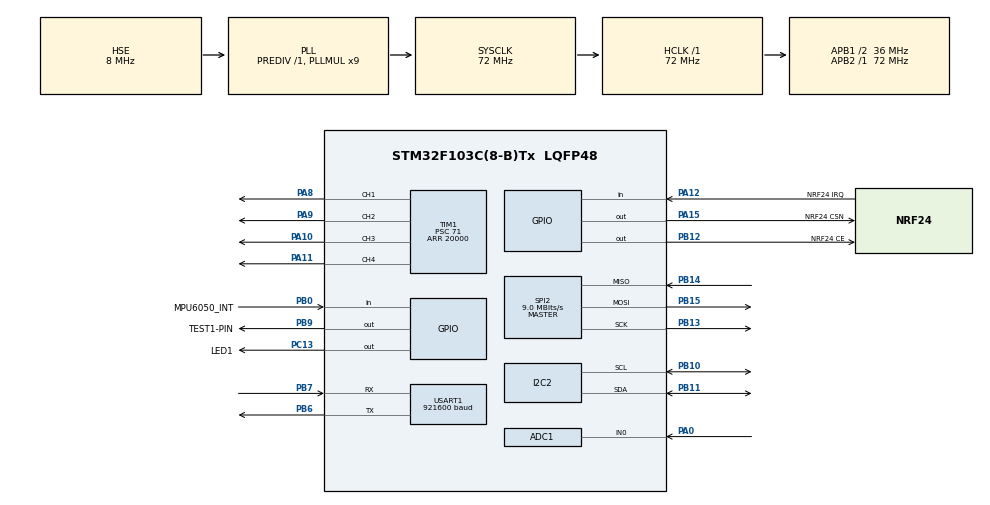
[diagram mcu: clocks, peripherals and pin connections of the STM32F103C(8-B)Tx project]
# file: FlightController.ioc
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ADC1.Channel-0\#ChannelRegularConversion=ADC_CHANNEL_0
ADC1.ContinuousConvMode=ENABLE
ADC1.NbrOfConversion=1
ADC1.NbrOfConversionFlag=1
ADC1.Rank-0\#ChannelRegularConversion=1
ADC1.SamplingTime-0\#ChannelRegularConversion=ADC_SAMPLETIME_13CYCLES_5
ADC1.master=1
I2C2.I2C_Mode=I2C_Fast
Mcu.Family=STM32F1
Mcu.Name=STM32F103C(8-B)Tx
Mcu.Package=LQFP48
NVIC.PriorityGroup=NVIC_PRIORITYGROUP_4
NVIC.TIM2_IRQn=true\:1\:0\:true\:false\:true\:true\:true
PA0-WKUP.Signal=ADCx_IN0
PA10.Signal=S_TIM1_CH3
PA11.Signal=S_TIM1_CH4
PA12.GPIO_Label=NRF24 IRQ
PA12.Signal=GPIO_Input
PA13.Mode=Trace_Asynchronous_SW
PA13.Signal=SYS_JTMS-SWDIO
PA14.Mode=Trace_Asynchronous_SW
PA14.Signal=SYS_JTCK-SWCLK
PA15.GPIO_Label=NRF24 CSN
PA15.Signal=GPIO_Output
PA8.Signal=S_TIM1_CH1
PA9.Signal=S_TIM1_CH2
PB0.GPIO_Label=MPU6050_INT
PB0.Signal=GPIO_Input
PB10.Mode=I2C
PB10.Signal=I2C2_SCL
PB11.Mode=I2C
PB11.Signal=I2C2_SDA
PB12.GPIO_Label=NRF24 CE
PB12.Signal=GPIO_Output
PB13.Mode=Full_Duplex_Master
PB13.Signal=SPI2_SCK
PB14.Mode=Full_Duplex_Master
PB14.Signal=SPI2_MISO
PB15.Mode=Full_Duplex_Master
PB15.Signal=SPI2_MOSI
PB3.Mode=Trace_Asynchronous_SW
PB3.Signal=SYS_JTDO-TRACESWO
PB6.Mode=Asynchronous
PB6.Signal=USART1_TX
PB7.Mode=Asynchronous
PB7.Signal=USART1_RX
PB9.GPIO_Label=TEST1-PIN
PB9.GPIO_Speed=GPIO_SPEED_FREQ_HIGH
PB9.Signal=GPIO_Output
PC13-TAMPER-RTC.GPIO_Label=LED1
PC13-TAMPER-RTC.Signal=GPIO_Output
PD0-OSC_IN.Mode=HSE-External-Oscillator
PD0-OSC_IN.Signal=RCC_OSC_IN
PD1-OSC_OUT.Mode=HSE-External-Oscillator
PD1-OSC_OUT.Signal=RCC_OSC_OUT
ProjectManager.HeapSize=0x200
ProjectManager.StackSize=0x400
ProjectManager.TargetToolchain=STM32CubeIDE
RCC.ADCPresc=RCC_ADCPCLK2_DIV6
RCC.AHBFreq_Value=72000000
RCC.APB1CLKDivider=RCC_HCLK_DIV2
RCC.APB1Freq_Value=36000000
RCC.APB1TimFreq_Value=72000000
RCC.APB2Freq_Value=72000000
RCC.APB2TimFreq_Value=72000000
RCC.HCLKFreq_Value=72000000
RCC.PLLMUL=RCC_PLL_MUL9
RCC.PLLSourceVirtual=RCC_PLLSOURCE_HSE
RCC.SYSCLKFreq_VALUE=72000000
RCC.SYSCLKSource=RCC_SYSCLKSOURCE_PLLCLK
RCC.USBFreq_Value=72000000
SH.ADCx_IN0.0=ADC1_IN0,IN0
SH.S_TIM1_CH1.0=TIM1_CH1,PWM Generation1 CH1
SH.S_TIM1_CH2.0=TIM1_CH2,PWM Generation2 CH2
SH.S_TIM1_CH3.0=TIM1_CH3,PWM Generation3 CH3
SH.S_TIM1_CH4.0=TIM1_CH4,PWM Generation4 CH4
SPI2.BaudRatePrescaler=SPI_BAUDRATEPRESCALER_4
SPI2.CalculateBaudRate=9.0 MBits/s
SPI2.Direction=SPI_DIRECTION_2LINES
SPI2.Mode=SPI_MODE_MASTER
SPI2.VirtualType=VM_MASTER
TIM1.Channel-PWM\ Generation1\ CH1=TIM_CHANNEL_1
TIM1.Channel-PWM\ Generation2\ CH2=TIM_CHANNEL_2
TIM1.Channel-PWM\ Generation3\ CH3=TIM_CHANNEL_3
TIM1.Channel-PWM\ Generation4\ CH4=TIM_CHANNEL_4
TIM1.OCFastMode_PWM-PWM\ Generation1\ CH1=TIM_OCFAST_ENABLE
TIM1.OCFastMode_PWM-PWM\ Generation2\ CH2=TIM_OCFAST_ENABLE
TIM1.OCFastMode_PWM-PWM\ Generation3\ CH3=TIM_OCFAST_ENABLE
TIM1.OCFastMode_PWM-PWM\ Generation4\ CH4=TIM_OCFAST_ENABLE
TIM1.Period=20000
TIM1.Prescaler=71
TIM1.Pulse-PWM\ Generation1\ CH1=1000
TIM1.Pulse-PWM\ Generation2\ CH2=1000
TIM1.Pulse-PWM\ Generation3\ CH3=1000
TIM1.Pulse-PWM\ Generation4\ CH4=1000
TIM2.AutoReloadPreload=TIM_AUTORELOAD_PRELOAD_ENABLE
TIM2.Period=2000
TIM2.Prescaler=71
USART1.BaudRate=921600
USART1.VirtualMode=VM_ASYNC
VP_TIM1_VS_ClockSourceINT.Mode=Internal
VP_TIM2_VS_ClockSourceINT.Mode=Internal
board=custom

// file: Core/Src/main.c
/* USER CODE BEGIN Header */
/**
  ******************************************************************************
  * @file           : main.c
  * @brief          : Main program body
  ******************************************************************************
  * @attention
  *
  * <h2><center>&copy; Copyright (c) 2020 STMicroelectronics.
  * All rights reserved.</center></h2>
  *
  * This software component is licensed by ST under BSD 3-Clause license,
  * the "License"; You may not use this file except in compliance with the
  * License. You may obtain a copy of the License at:
  *                        opensource.org/licenses/BSD-3-Clause
  *
  ******************************************************************************
  */
/* USER CODE END Header */

#include "main.h"

/* USER CODE BEGIN Includes */
#include "nrf24.h"
#include "MPU6050.h"
#include "stm32f1xx_it.h"
#include <string.h>
#include <stdio.h>
#include <math.h>
/* USER CODE END Includes */

ADC_HandleTypeDef hadc1;

I2C_HandleTypeDef hi2c2;

SPI_HandleTypeDef hspi2;

TIM_HandleTypeDef htim1;
TIM_HandleTypeDef htim2;

UART_HandleTypeDef huart1;

/* USER CODE BEGIN PV */
uint32_t watch1,watch2,watch3,watch4,watch5,watch6;
int32_t test1;
float watch1fl,watch2fl,watch3fl,watch4fl;

//NRF24
uint8_t nRF24_payloadTX[32]; //TX buffer
uint8_t nRF24_payloadRX[32]; //RX buffer
const uint8_t nRF24_ADDR[3] = {5, 3, 5 }; //Address
uint32_t wifiOK;
uint8_t RXstpaketov=0;

//NRF24 data
uint32_t Ljoyupdown;
uint32_t Ljoyleftright;
uint32_t Djoyupdown;
uint32_t Djoyleftright;
uint32_t potenc1;
uint32_t potenc2;
uint32_t togg1;
uint32_t togg2;
uint32_t togg3;
uint32_t togg4;
uint32_t togg5;
uint32_t togg6;

//MPU6050
MPU6050_Result MPU6050rezulatat ;
MPU6050str	mpu6050DataStr;
int16_t GyroXcal,GyroYcal,GyroZcal;
int16_t GyroXOff,GyroYOff,GyroZOff;
int32_t SUMGyroX,SUMGyroY,SUMGyroZ;
uint32_t i=0;
uint8_t fifoBuffer[64];    // FIFO storage buffer
uint16_t packetSize=42;    // expected DMP packet size (default is 42 bytes)
uint32_t MPUintActive;

//UART DEBUG
char UartTXbuff0[100];

//MOTOR
uint32_t MotorStatus=MOTORINIT;
uint32_t GyroCalibStatus=0;

struct FlashDatastruct FlashDataDefault; //Default constant embedded in Code
struct FlashDatastruct FlashDataFlash;  //Constants read from Flash
struct FlashDatastruct FlashDataActive; //Active constants
struct Quaternions QuaternionMPU60500;
struct GravityVector GravityVectorMPU6050;
struct Angles AnglesMPU6050_DMP;

/* USER CODE END PV */

void SystemClock_Config(void);
static void MX_GPIO_Init(void);
static void MX_ADC1_Init(void);
static void MX_I2C2_Init(void);
static void MX_SPI2_Init(void);
static void MX_TIM1_Init(void);
static void MX_USART1_UART_Init(void);
static void MX_TIM2_Init(void);

int main(void)
{
  /* USER CODE BEGIN 1 */

	//test timings DWT counter
	CoreDebug->DEMCR |= CoreDebug_DEMCR_TRCENA_Msk;
	DWT->CYCCNT = 0;
	DWT->CTRL |= 1;

  /* USER CODE END 1 */

  /* MCU Configuration--------------------------------------------------------*/

  /* Reset of all peripherals, Initializes the Flash interface and the Systick. */
  HAL_Init();

  /* Configure the system clock */
  SystemClock_Config();

  /* Initialize all configured peripherals */
  MX_GPIO_Init();
  MX_ADC1_Init();
  MX_I2C2_Init();
  MX_SPI2_Init();
  MX_TIM1_Init();
  MX_USART1_UART_Init();
  MX_TIM2_Init();
  /* USER CODE BEGIN 2 */

  HAL_ADCEx_Calibration_Start(&hadc1);
  HAL_ADC_Start(&hadc1);

  //DEFAULT FLASH CONSTANTS--------------------------------------------------------------------------
  FlashDataDefault.controlData=CONTROLWORD;
  FlashDataDefault.pid_p_gain_pitch=3.0;
  FlashDataDefault.pid_i_gain_pitch=0.0;
  FlashDataDefault.pid_d_gain_pitch=400.0;
  FlashDataDefault.pid_p_gain_roll=3.0;
  FlashDataDefault.pid_i_gain_roll=0.0;
  FlashDataDefault.pid_d_gain_roll=400.0;
  FlashDataDefault.pid_p_gain_yaw=3.0;
  FlashDataDefault.pid_i_gain_yaw=0.0;
  FlashDataDefault.pid_d_gain_yaw=0.0;
  FlashDataDefault.pid_max_pitch = 400;
  FlashDataDefault.pid_i_max_pitch = 100;
  FlashDataDefault.pid_max_roll = 400;
  FlashDataDefault.pid_i_max_roll = 100;
  FlashDataDefault.pid_max_yaw = 0; //no yaw
  FlashDataDefault.pid_i_max_yaw = 100;
  FlashDataDefault.maxpitchdegree=20; //degrees
  FlashDataDefault.maxrolldegree=20;  //degrees
  FlashDataDefault.maxyawdegree=30;  //degrees per second rotation
  FlashDataDefault.minthrottle=80;    //80counts of 1000 to spin rotors
  FlashDataDefault.maxthrottle=800;   //800counts of 1000 (80%)

  if( CheckFlashData(FLASHCONSTADDR) == CONTROLWORD ) //Check if any Data is present
  {
	  //Read Data and Save parameters into ACTIVE structure
	  ReadFlashData(FLASHCONSTADDR, &FlashDataActive);
	  ReadFlashData(FLASHCONSTADDR, &FlashDataFlash);

  }
  else
  {
	  //Write default values into Flash, Read back data into Active Structure
	  WriteFlashData(FLASHCONSTADDR, &FlashDataDefault);
	  ReadFlashData(FLASHCONSTADDR, &FlashDataActive);
	  ReadFlashData(FLASHCONSTADDR, &FlashDataFlash);
  }//------------------------------------------------------------------------------------------------------

  HAL_Delay(400);//wait for stable power

  //MPU6050 Init
  MPU6050_init(&hi2c2);
  MPU6050rezulatat=MPU6050_check(&hi2c2);

  //NRF24 INIT
  SPI2->CR1|=SPI_CR1_SPE; //enable SPI

  nRF24_CE_L(); // RX/TX disabled

  wifiOK=nRF24_Check();

  nRF24_Init(); //Default init

  // Disable ShockBurst for all RX pipes
  nRF24_DisableAA(0xFF);

  // Set RF channel
  nRF24_SetRFChannel(15); //2400Mhz + 15Mhz

  // Set data rate
  nRF24_SetDataRate(nRF24_DR_250kbps);

  // Set CRC scheme
  nRF24_SetCRCScheme(nRF24_CRC_1byte);

  // Set address width, its common for all pipes (RX and TX)
  nRF24_SetAddrWidth(3);

  nRF24_SetAddr(nRF24_PIPE1, nRF24_ADDR); //PROGRAM PIPE1!! for RX

  nRF24_SetRXPipe(nRF24_PIPE1, nRF24_AA_OFF, 8); // Auto-ACK: disabled

  nRF24_SetAddr(nRF24_PIPETX, nRF24_ADDR);

  // Set TX power
  nRF24_SetTXPower(nRF24_TXPWR_18dBm);

  // Set operational mode
  nRF24_SetOperationalMode(nRF24_MODE_RX);

  // Clear any pending IRQ flags
  nRF24_ClearIRQFlags();

  // Wake the transceiver
  nRF24_SetPowerMode(nRF24_PWR_UP);

  nRF24_CE_H();//Enable RX

  HAL_Delay(5000);//wait to connect battery

  HAL_TIM_PWM_Start(&htim1, TIM_CHANNEL_1);
  HAL_TIM_PWM_Start(&htim1, TIM_CHANNEL_2);
  HAL_TIM_PWM_Start(&htim1, TIM_CHANNEL_3);
  HAL_TIM_PWM_Start(&htim1, TIM_CHANNEL_4);

  MotorStatus=MOTOROFF;

  //Get Gyro offset--------------------------------------
  GyroCalibStatus=1;

  GetGyroOffset(&hi2c2, &mpu6050DataStr, GYROCALIBVALUES, 1);

  GyroCalibStatus=0;

  HAL_TIM_Base_Start_IT(&htim2);//Start at the END of Main Initialization

  ///-----------------

  /* USER CODE END 2 */

  /* Infinite loop */
  while (1)
  {

    /* USER CODE BEGIN 3 */

	  //own function is used for UART TX, very basic function for direct Register write one char at the time
	  //HAL_UART_Transmit ( &huart1, UartTXbuff0, strlen( UartTXbuff0 ), 1 ); //removed ->missing bytes on occasion

	  HAL_Delay(100);

	  sprintf(UartTXbuff0,T_HIDE_CUR);
	  WriteString(UartTXbuff0);

	  sprintf(UartTXbuff0,T_GO_TO,1,1); //Go to start Screen
	  WriteString(UartTXbuff0);

	  sprintf(UartTXbuff0,T_CLR_SCREEN);
	  WriteString(UartTXbuff0);

	  sprintf(UartTXbuff0, "Motor Status %u MPU=%u \n\r",MotorStatus,MPU6050rezulatat);
	  WriteString(UartTXbuff0);

	  sprintf(UartTXbuff0, "ThrottleIN %.2f \n\r",ThrottleINscaled);
	  WriteString(UartTXbuff0);

	  sprintf(UartTXbuff0, "PitchIN %.2f \n\r",PitchINscaled);
	  WriteString(UartTXbuff0);

	  sprintf(UartTXbuff0, "RollIN %.2f \n\r",RollINscaled);
	  WriteString(UartTXbuff0);

	  sprintf(UartTXbuff0, "YawIN %.2f \n\r",YawINscaled);
	  WriteString(UartTXbuff0);

	  sprintf(UartTXbuff0, "\n\r" );
	  WriteString(UartTXbuff0);

	  sprintf(UartTXbuff0, "Pitch=%.2f deg\n\r",mpu6050DataStr.Pitch);
	  WriteString(UartTXbuff0);

	  sprintf(UartTXbuff0, "Roll=%.2f deg\n\r",mpu6050DataStr.Roll);
	  WriteString(UartTXbuff0);

	  //sprintf(UartTXbuff0, "Gyro Pitch=%.2f deg\n\r",mpu6050DataStr.Angle_Gyro_Pitch);
	  //WriteString(UartTXbuff0);

	  //sprintf(UartTXbuff0, "Gyro Roll=%.2f deg\n\r",mpu6050DataStr.Angle_Gyro_Roll);
	  //WriteString(UartTXbuff0);

	  sprintf(UartTXbuff0, "Yaw-Gyro=%.2f deg\n\r",mpu6050DataStr.Angle_Gyro_Yaw);
	  WriteString(UartTXbuff0);

	  sprintf(UartTXbuff0, "\n\r" );
	  WriteString(UartTXbuff0);

	  sprintf(UartTXbuff0, "Accel Pitch=%.2f deg\n\r",mpu6050DataStr.Angle_Accel_Pitch);
	  WriteString(UartTXbuff0);

	  sprintf(UartTXbuff0, "Accel Roll=%.2f deg\n\r",mpu6050DataStr.Angle_Accel_Roll);
	  WriteString(UartTXbuff0);

	  //sprintf(UartTXbuff0, "Gyro X speed=%.2f deg/s\n\r",mpu6050DataStr.AngleSpeed_Gyro_X);
	 //WriteString(UartTXbuff0);

	  //sprintf(UartTXbuff0, "Gyro Y speed=%.2f deg/s\n\r",mpu6050DataStr.AngleSpeed_Gyro_Y);
	  //WriteString(UartTXbuff0);

	  //sprintf(UartTXbuff0, "Gyro Z speed=%.2f deg/s\n\r",mpu6050DataStr.AngleSpeed_Gyro_Z);
	  //WriteString(UartTXbuff0);

	  sprintf(UartTXbuff0, "\n\r" );
	  WriteString(UartTXbuff0);

	  sprintf(UartTXbuff0, "Acc Raw %d %d %d \n\r",mpu6050DataStr.Accelerometer_X_RAW,mpu6050DataStr.Accelerometer_Y_RAW,mpu6050DataStr.Accelerometer_Z_RAW);
	  WriteString(UartTXbuff0);

	  sprintf(UartTXbuff0, "Gyro Raw %d %d %d \n\r",mpu6050DataStr.Gyroscope_X_RAW,mpu6050DataStr.Gyroscope_Y_RAW,mpu6050DataStr.Gyroscope_Z_RAW);
	  WriteString(UartTXbuff0);

	  sprintf(UartTXbuff0, "Gyro Offset %.1f %.1f %.1f \n\r",mpu6050DataStr.Offset_Gyro_X,mpu6050DataStr.Offset_Gyro_Y,mpu6050DataStr.Offset_Gyro_Z);
	  WriteString(UartTXbuff0);

	  sprintf(UartTXbuff0, "Gyro Cal %.1f %.1f %.1f \n\r",mpu6050DataStr.Gyroscope_X_Cal,mpu6050DataStr.Gyroscope_Y_Cal,mpu6050DataStr.Gyroscope_Z_Cal);
	  WriteString(UartTXbuff0);

	  sprintf(UartTXbuff0, "\n\r" );
	  WriteString(UartTXbuff0);

	  sprintf(UartTXbuff0, "PWM 1:%u  2:%u  3:%u  4:%u   \n\r",PWM_Mot1,PWM_Mot2,PWM_Mot3,PWM_Mot4);
	  WriteString(UartTXbuff0);

	  sprintf(UartTXbuff0, "Toggle %d %d %d %d %d %d  ",togg1,togg2,togg3,togg4,togg5,togg6);
	  WriteString(UartTXbuff0);

	  sprintf(UartTXbuff0, "Potenc %d %d  ",potenc1,potenc2);
	  WriteString(UartTXbuff0);

	  sprintf(UartTXbuff0, "YL %d %d  YD %d %d \n\r",Ljoyupdown, Ljoyleftright, Djoyupdown, Djoyleftright);
	  WriteString(UartTXbuff0);

	  //ACTIVE PID CONSTANTS
	  sprintf(UartTXbuff0, "\n\rPID Constants Active  \n\r" );
	  WriteString(UartTXbuff0);

	  sprintf(UartTXbuff0, "Pitch P=%.2f I=%.5f D=%.2f \n\r",FlashDataActive.pid_p_gain_pitch, FlashDataActive.pid_i_gain_pitch, FlashDataActive.pid_d_gain_pitch);
	  WriteString(UartTXbuff0);

	  sprintf(UartTXbuff0, "Roll P=%.2f I=%.5f D=%.2f \n\r",FlashDataActive.pid_p_gain_roll, FlashDataActive.pid_i_gain_roll, FlashDataActive.pid_d_gain_roll);
	  WriteString(UartTXbuff0);

	  sprintf(UartTXbuff0, "Yaw P=%.2f I=%.5f D=%.2f \n\r",FlashDataActive.pid_p_gain_yaw, FlashDataActive.pid_i_gain_yaw, FlashDataActive.pid_d_gain_yaw);
	  WriteString(UartTXbuff0);

	  sprintf(UartTXbuff0, "Pitch Max %d Max I %d \n\r",FlashDataActive.pid_max_pitch, FlashDataActive.pid_i_max_pitch);
	  WriteString(UartTXbuff0);

	  sprintf(UartTXbuff0, "Roll Max %d Max I %d \n\r",FlashDataActive.pid_max_roll, FlashDataActive.pid_i_max_roll);
	  WriteString(UartTXbuff0);

	  sprintf(UartTXbuff0, "Yaw Max %d Max I %d \n\r",FlashDataActive.pid_max_yaw, FlashDataActive.pid_i_max_yaw);
	  WriteString(UartTXbuff0);

	  sprintf(UartTXbuff0, "Pitch Max Degree %.2f \n\r",FlashDataActive.maxpitchdegree);
	  WriteString(UartTXbuff0);

	  sprintf(UartTXbuff0, "Roll Max Degree %.2f \n\r",FlashDataActive.maxrolldegree);
	  WriteString(UartTXbuff0);

	  sprintf(UartTXbuff0, "Yaw Max Degree %.2f \n\r",FlashDataActive.maxyawdegree);
	  WriteString(UartTXbuff0);

	  sprintf(UartTXbuff0, "Throttle Max %.2f Min I %.2f \n\r",FlashDataActive.maxthrottle, FlashDataActive.minthrottle);
	  WriteString(UartTXbuff0);

	  //FLASH PID CONSTANTS
	  sprintf(UartTXbuff0, "\n\rPID Constants Flash  \n\r" );
	  WriteString(UartTXbuff0);

	  sprintf(UartTXbuff0, "Pitch P=%.2f I=%.5f D=%.2f \n\r",FlashDataFlash.pid_p_gain_pitch, FlashDataFlash.pid_i_gain_pitch, FlashDataFlash.pid_d_gain_pitch);
	  WriteString(UartTXbuff0);

	  sprintf(UartTXbuff0, "Roll P=%.2f I=%.5f D=%.2f \n\r",FlashDataFlash.pid_p_gain_roll, FlashDataFlash.pid_i_gain_roll, FlashDataFlash.pid_d_gain_roll);
	  WriteString(UartTXbuff0);

	  sprintf(UartTXbuff0, "Yaw P=%.2f I=%.5f D=%.2f \n\r",FlashDataFlash.pid_p_gain_yaw, FlashDataFlash.pid_i_gain_yaw, FlashDataFlash.pid_d_gain_yaw);
	  WriteString(UartTXbuff0);

	  sprintf(UartTXbuff0, "Pitch Max %d Max I %d \n\r",FlashDataFlash.pid_max_pitch, FlashDataFlash.pid_i_max_pitch);
	  WriteString(UartTXbuff0);

	  sprintf(UartTXbuff0, "Roll Max %d Max I %d \n\r",FlashDataFlash.pid_max_roll, FlashDataFlash.pid_i_max_roll);
	  WriteString(UartTXbuff0);

	  sprintf(UartTXbuff0, "Yaw Max %d Max I %d \n\r",FlashDataFlash.pid_max_yaw, FlashDataFlash.pid_i_max_yaw);
	  WriteString(UartTXbuff0);

	  sprintf(UartTXbuff0, "Pitch Max Degree %.2f \n\r",FlashDataFlash.maxpitchdegree);
	  WriteString(UartTXbuff0);

	  sprintf(UartTXbuff0, "Roll Max Degree %.2f \n\r",FlashDataFlash.maxrolldegree);
	  WriteString(UartTXbuff0);

	  sprintf(UartTXbuff0, "Yaw Max Degree %.2f \n\r",FlashDataFlash.maxyawdegree);
	  WriteString(UartTXbuff0);

	  sprintf(UartTXbuff0, "Throttle Max %.2f Min I %.2f \n\r",FlashDataFlash.maxthrottle, FlashDataFlash.minthrottle);
	  WriteString(UartTXbuff0);

	  sprintf(UartTXbuff0, "\n\r" );
	  WriteString(UartTXbuff0);

	  sprintf(UartTXbuff0, "watch %d %d %d %d %d %d\n\r",watch1,watch2,watch3,watch4,watch5,watch6);
	  WriteString(UartTXbuff0);

	  sprintf(UartTXbuff0, "watch %.2f %.2f %.2f %.2f \n\r",watch1fl,watch2fl,watch3fl,watch4fl);
	  WriteString(UartTXbuff0);

  }
  /* USER CODE END 3 */
}

void SystemClock_Config(void)
{
  RCC_OscInitTypeDef RCC_OscInitStruct = {0};
  RCC_ClkInitTypeDef RCC_ClkInitStruct = {0};
  RCC_PeriphCLKInitTypeDef PeriphClkInit = {0};

  /** Initializes the CPU, AHB and APB busses clocks
  */
  RCC_OscInitStruct.OscillatorType = RCC_OSCILLATORTYPE_HSE;
  RCC_OscInitStruct.HSEState = RCC_HSE_ON;
  RCC_OscInitStruct.HSEPredivValue = RCC_HSE_PREDIV_DIV1;
  RCC_OscInitStruct.HSIState = RCC_HSI_ON;
  RCC_OscInitStruct.PLL.PLLState = RCC_PLL_ON;
  RCC_OscInitStruct.PLL.PLLSource = RCC_PLLSOURCE_HSE;
  RCC_OscInitStruct.PLL.PLLMUL = RCC_PLL_MUL9;
  if (HAL_RCC_OscConfig(&RCC_OscInitStruct) != HAL_OK)
  {
    Error_Handler();
  }
  /** Initializes the CPU, AHB and APB busses clocks
  */
  RCC_ClkInitStruct.ClockType = RCC_CLOCKTYPE_HCLK|RCC_CLOCKTYPE_SYSCLK
                              |RCC_CLOCKTYPE_PCLK1|RCC_CLOCKTYPE_PCLK2;
  RCC_ClkInitStruct.SYSCLKSource = RCC_SYSCLKSOURCE_PLLCLK;
  RCC_ClkInitStruct.AHBCLKDivider = RCC_SYSCLK_DIV1;
  RCC_ClkInitStruct.APB1CLKDivider = RCC_HCLK_DIV2;
  RCC_ClkInitStruct.APB2CLKDivider = RCC_HCLK_DIV1;

  if (HAL_RCC_ClockConfig(&RCC_ClkInitStruct, FLASH_LATENCY_2) != HAL_OK)
  {
    Error_Handler();
  }
  PeriphClkInit.PeriphClockSelection = RCC_PERIPHCLK_ADC;
  PeriphClkInit.AdcClockSelection = RCC_ADCPCLK2_DIV6;
  if (HAL_RCCEx_PeriphCLKConfig(&PeriphClkInit) != HAL_OK)
  {
    Error_Handler();
  }
}

static void MX_ADC1_Init(void)
{

  ADC_ChannelConfTypeDef sConfig = {0};

  /** Common config
  */
  hadc1.Instance = ADC1;
  hadc1.Init.ScanConvMode = ADC_SCAN_DISABLE;
  hadc1.Init.ContinuousConvMode = ENABLE;
  hadc1.Init.DiscontinuousConvMode = DISABLE;
  hadc1.Init.ExternalTrigConv = ADC_SOFTWARE_START;
  hadc1.Init.DataAlign = ADC_DATAALIGN_RIGHT;
  hadc1.Init.NbrOfConversion = 1;
  if (HAL_ADC_Init(&hadc1) != HAL_OK)
  {
    Error_Handler();
  }
  /** Configure Regular Channel
  */
  sConfig.Channel = ADC_CHANNEL_0;
  sConfig.Rank = ADC_REGULAR_RANK_1;
  sConfig.SamplingTime = ADC_SAMPLETIME_13CYCLES_5;
  if (HAL_ADC_ConfigChannel(&hadc1, &sConfig) != HAL_OK)
  {
    Error_Handler();
  }

}

static void MX_I2C2_Init(void)
{

  hi2c2.Instance = I2C2;
  hi2c2.Init.ClockSpeed = 400000;
  hi2c2.Init.DutyCycle = I2C_DUTYCYCLE_2;
  hi2c2.Init.OwnAddress1 = 0;
  hi2c2.Init.AddressingMode = I2C_ADDRESSINGMODE_7BIT;
  hi2c2.Init.DualAddressMode = I2C_DUALADDRESS_DISABLE;
  hi2c2.Init.OwnAddress2 = 0;
  hi2c2.Init.GeneralCallMode = I2C_GENERALCALL_DISABLE;
  hi2c2.Init.NoStretchMode = I2C_NOSTRETCH_DISABLE;
  if (HAL_I2C_Init(&hi2c2) != HAL_OK)
  {
    Error_Handler();
  }

}

static void MX_SPI2_Init(void)
{

  /* SPI2 parameter configuration*/
  hspi2.Instance = SPI2;
  hspi2.Init.Mode = SPI_MODE_MASTER;
  hspi2.Init.Direction = SPI_DIRECTION_2LINES;
  hspi2.Init.DataSize = SPI_DATASIZE_8BIT;
  hspi2.Init.CLKPolarity = SPI_POLARITY_LOW;
  hspi2.Init.CLKPhase = SPI_PHASE_1EDGE;
  hspi2.Init.NSS = SPI_NSS_SOFT;
  hspi2.Init.BaudRatePrescaler = SPI_BAUDRATEPRESCALER_4;
  hspi2.Init.FirstBit = SPI_FIRSTBIT_MSB;
  hspi2.Init.TIMode = SPI_TIMODE_DISABLE;
  hspi2.Init.CRCCalculation = SPI_CRCCALCULATION_DISABLE;
  hspi2.Init.CRCPolynomial = 10;
  if (HAL_SPI_Init(&hspi2) != HAL_OK)
  {
    Error_Handler();
  }

}

static void MX_TIM1_Init(void)
{

  TIM_ClockConfigTypeDef sClockSourceConfig = {0};
  TIM_MasterConfigTypeDef sMasterConfig = {0};
  TIM_OC_InitTypeDef sConfigOC = {0};
  TIM_BreakDeadTimeConfigTypeDef sBreakDeadTimeConfig = {0};

  htim1.Instance = TIM1;
  htim1.Init.Prescaler = 71;
  htim1.Init.CounterMode = TIM_COUNTERMODE_UP;
  htim1.Init.Period = 20000;
  htim1.Init.ClockDivision = TIM_CLOCKDIVISION_DIV1;
  htim1.Init.RepetitionCounter = 0;
  htim1.Init.AutoReloadPreload = TIM_AUTORELOAD_PRELOAD_DISABLE;
  if (HAL_TIM_Base_Init(&htim1) != HAL_OK)
  {
    Error_Handler();
  }
  sClockSourceConfig.ClockSource = TIM_CLOCKSOURCE_INTERNAL;
  if (HAL_TIM_ConfigClockSource(&htim1, &sClockSourceConfig) != HAL_OK)
  {
    Error_Handler();
  }
  if (HAL_TIM_PWM_Init(&htim1) != HAL_OK)
  {
    Error_Handler();
  }
  sMasterConfig.MasterOutputTrigger = TIM_TRGO_RESET;
  sMasterConfig.MasterSlaveMode = TIM_MASTERSLAVEMODE_DISABLE;
  if (HAL_TIMEx_MasterConfigSynchronization(&htim1, &sMasterConfig) != HAL_OK)
  {
    Error_Handler();
  }
  sConfigOC.OCMode = TIM_OCMODE_PWM1;
  sConfigOC.Pulse = 1000;
  sConfigOC.OCPolarity = TIM_OCPOLARITY_HIGH;
  sConfigOC.OCNPolarity = TIM_OCNPOLARITY_HIGH;
  sConfigOC.OCFastMode = TIM_OCFAST_ENABLE;
  sConfigOC.OCIdleState = TIM_OCIDLESTATE_RESET;
  sConfigOC.OCNIdleState = TIM_OCNIDLESTATE_RESET;
  if (HAL_TIM_PWM_ConfigChannel(&htim1, &sConfigOC, TIM_CHANNEL_1) != HAL_OK)
  {
    Error_Handler();
  }
  if (HAL_TIM_PWM_ConfigChannel(&htim1, &sConfigOC, TIM_CHANNEL_2) != HAL_OK)
  {
    Error_Handler();
  }
  if (HAL_TIM_PWM_ConfigChannel(&htim1, &sConfigOC, TIM_CHANNEL_3) != HAL_OK)
  {
    Error_Handler();
  }
  if (HAL_TIM_PWM_ConfigChannel(&htim1, &sConfigOC, TIM_CHANNEL_4) != HAL_OK)
  {
    Error_Handler();
  }
  sBreakDeadTimeConfig.OffStateRunMode = TIM_OSSR_DISABLE;
  sBreakDeadTimeConfig.OffStateIDLEMode = TIM_OSSI_DISABLE;
  sBreakDeadTimeConfig.LockLevel = TIM_LOCKLEVEL_OFF;
  sBreakDeadTimeConfig.DeadTime = 0;
  sBreakDeadTimeConfig.BreakState = TIM_BREAK_DISABLE;
  sBreakDeadTimeConfig.BreakPolarity = TIM_BREAKPOLARITY_HIGH;
  sBreakDeadTimeConfig.AutomaticOutput = TIM_AUTOMATICOUTPUT_DISABLE;
  if (HAL_TIMEx_ConfigBreakDeadTime(&htim1, &sBreakDeadTimeConfig) != HAL_OK)
  {
    Error_Handler();
  }
  HAL_TIM_MspPostInit(&htim1);

}

static void MX_TIM2_Init(void)
{

  TIM_ClockConfigTypeDef sClockSourceConfig = {0};
  TIM_MasterConfigTypeDef sMasterConfig = {0};

  htim2.Instance = TIM2;
  htim2.Init.Prescaler = 71;
  htim2.Init.CounterMode = TIM_COUNTERMODE_UP;
  htim2.Init.Period = 2000;
  htim2.Init.ClockDivision = TIM_CLOCKDIVISION_DIV1;
  htim2.Init.AutoReloadPreload = TIM_AUTORELOAD_PRELOAD_ENABLE;
  if (HAL_TIM_Base_Init(&htim2) != HAL_OK)
  {
    Error_Handler();
  }
  sClockSourceConfig.ClockSource = TIM_CLOCKSOURCE_INTERNAL;
  if (HAL_TIM_ConfigClockSource(&htim2, &sClockSourceConfig) != HAL_OK)
  {
    Error_Handler();
  }
  sMasterConfig.MasterOutputTrigger = TIM_TRGO_RESET;
  sMasterConfig.MasterSlaveMode = TIM_MASTERSLAVEMODE_DISABLE;
  if (HAL_TIMEx_MasterConfigSynchronization(&htim2, &sMasterConfig) != HAL_OK)
  {
    Error_Handler();
  }

}

static void MX_USART1_UART_Init(void)
{

  huart1.Instance = USART1;
  huart1.Init.BaudRate = 921600;
  huart1.Init.WordLength = UART_WORDLENGTH_8B;
  huart1.Init.StopBits = UART_STOPBITS_1;
  huart1.Init.Parity = UART_PARITY_NONE;
  huart1.Init.Mode = UART_MODE_TX_RX;
  huart1.Init.HwFlowCtl = UART_HWCONTROL_NONE;
  huart1.Init.OverSampling = UART_OVERSAMPLING_16;
  if (HAL_UART_Init(&huart1) != HAL_OK)
  {
    Error_Handler();
  }

}

static void MX_GPIO_Init(void)
{
  GPIO_InitTypeDef GPIO_InitStruct = {0};

  /* GPIO Ports Clock Enable */
  __HAL_RCC_GPIOC_CLK_ENABLE();
  __HAL_RCC_GPIOD_CLK_ENABLE();
  __HAL_RCC_GPIOA_CLK_ENABLE();
  __HAL_RCC_GPIOB_CLK_ENABLE();

  /*Configure GPIO pin Output Level */
  HAL_GPIO_WritePin(LED1_GPIO_Port, LED1_Pin, GPIO_PIN_RESET);

  /*Configure GPIO pin Output Level */
  HAL_GPIO_WritePin(GPIOB, NRF24_CE_Pin|TEST1_PIN_Pin, GPIO_PIN_RESET);

  /*Configure GPIO pin Output Level */
  HAL_GPIO_WritePin(NRF24_CSN_GPIO_Port, NRF24_CSN_Pin, GPIO_PIN_RESET);

  /*Configure GPIO pin : LED1_Pin */
  GPIO_InitStruct.Pin = LED1_Pin;
  GPIO_InitStruct.Mode = GPIO_MODE_OUTPUT_PP;
  GPIO_InitStruct.Pull = GPIO_NOPULL;
  GPIO_InitStruct.Speed = GPIO_SPEED_FREQ_LOW;
  HAL_GPIO_Init(LED1_GPIO_Port, &GPIO_InitStruct);

  /*Configure GPIO pin : MPU6050_INT_Pin */
  GPIO_InitStruct.Pin = MPU6050_INT_Pin;
  GPIO_InitStruct.Mode = GPIO_MODE_INPUT;
  GPIO_InitStruct.Pull = GPIO_NOPULL;
  HAL_GPIO_Init(MPU6050_INT_GPIO_Port, &GPIO_InitStruct);

  /*Configure GPIO pin : NRF24_CE_Pin */
  GPIO_InitStruct.Pin = NRF24_CE_Pin;
  GPIO_InitStruct.Mode = GPIO_MODE_OUTPUT_PP;
  GPIO_InitStruct.Pull = GPIO_NOPULL;
  GPIO_InitStruct.Speed = GPIO_SPEED_FREQ_LOW;
  HAL_GPIO_Init(NRF24_CE_GPIO_Port, &GPIO_InitStruct);

  /*Configure GPIO pin : NRF24_IRQ_Pin */
  GPIO_InitStruct.Pin = NRF24_IRQ_Pin;
  GPIO_InitStruct.Mode = GPIO_MODE_INPUT;
  GPIO_InitStruct.Pull = GPIO_NOPULL;
  HAL_GPIO_Init(NRF24_IRQ_GPIO_Port, &GPIO_InitStruct);

  /*Configure GPIO pin : NRF24_CSN_Pin */
  GPIO_InitStruct.Pin = NRF24_CSN_Pin;
  GPIO_InitStruct.Mode = GPIO_MODE_OUTPUT_PP;
  GPIO_InitStruct.Pull = GPIO_NOPULL;
  GPIO_InitStruct.Speed = GPIO_SPEED_FREQ_LOW;
  HAL_GPIO_Init(NRF24_CSN_GPIO_Port, &GPIO_InitStruct);

  /*Configure GPIO pin : TEST1_PIN_Pin */
  GPIO_InitStruct.Pin = TEST1_PIN_Pin;
  GPIO_InitStruct.Mode = GPIO_MODE_OUTPUT_PP;
  GPIO_InitStruct.Pull = GPIO_NOPULL;
  GPIO_InitStruct.Speed = GPIO_SPEED_FREQ_HIGH;
  HAL_GPIO_Init(TEST1_PIN_GPIO_Port, &GPIO_InitStruct);

}

/* USER CODE BEGIN 4 */
//Write Data into Flash starting from given address
void WriteFlashData(uint32_t StartAddr, struct FlashDatastruct *p)
{
	FLASH_EraseInitTypeDef EraseInitStruct;

	uint32_t PageError;

	EraseInitStruct.TypeErase   = FLASH_TYPEERASE_PAGES;
	EraseInitStruct.PageAddress = StartAddr;
	EraseInitStruct.NbPages     = 1;

	HAL_FLASH_Unlock();

	//FLASH_PageErase(0x800FC00); //doesn't handle all registers PER regiser in CR is not cleared

	HAL_FLASHEx_Erase(&EraseInitStruct, &PageError);

	HAL_FLASH_Program(FLASH_TYPEPROGRAM_WORD,StartAddr, p->controlData);
	HAL_FLASH_Program(FLASH_TYPEPROGRAM_WORD,StartAddr+4, (uint32_t) ( p->pid_p_gain_pitch * FLASHCONSTANTMULTIPLIER) );
	HAL_FLASH_Program(FLASH_TYPEPROGRAM_WORD,StartAddr+8, (uint32_t) ( p->pid_i_gain_pitch * FLASHCONSTANTMULTIPLIER) );
	HAL_FLASH_Program(FLASH_TYPEPROGRAM_WORD,StartAddr+12,(uint32_t) ( p->pid_d_gain_pitch * FLASHCONSTANTMULTIPLIER) );
	HAL_FLASH_Program(FLASH_TYPEPROGRAM_WORD,StartAddr+16,(uint32_t) ( p->pid_p_gain_roll * FLASHCONSTANTMULTIPLIER) );
	HAL_FLASH_Program(FLASH_TYPEPROGRAM_WORD,StartAddr+20,(uint32_t) ( p->pid_i_gain_roll * FLASHCONSTANTMULTIPLIER) );
	HAL_FLASH_Program(FLASH_TYPEPROGRAM_WORD,StartAddr+24,(uint32_t) ( p->pid_d_gain_roll * FLASHCONSTANTMULTIPLIER) );
	HAL_FLASH_Program(FLASH_TYPEPROGRAM_WORD,StartAddr+28,(uint32_t) ( p->pid_p_gain_yaw * FLASHCONSTANTMULTIPLIER) );
	HAL_FLASH_Program(FLASH_TYPEPROGRAM_WORD,StartAddr+32,(uint32_t) ( p->pid_i_gain_yaw * FLASHCONSTANTMULTIPLIER) );
	HAL_FLASH_Program(FLASH_TYPEPROGRAM_WORD,StartAddr+36,(uint32_t) ( p->pid_d_gain_yaw * FLASHCONSTANTMULTIPLIER) );
	HAL_FLASH_Program(FLASH_TYPEPROGRAM_WORD,StartAddr+40, p->pid_max_pitch);
	HAL_FLASH_Program(FLASH_TYPEPROGRAM_WORD,StartAddr+44, p->pid_i_max_pitch);
	HAL_FLASH_Program(FLASH_TYPEPROGRAM_WORD,StartAddr+48, p->pid_max_roll);
	HAL_FLASH_Program(FLASH_TYPEPROGRAM_WORD,StartAddr+52, p->pid_i_max_roll);
	HAL_FLASH_Program(FLASH_TYPEPROGRAM_WORD,StartAddr+56, p->pid_max_yaw);
	HAL_FLASH_Program(FLASH_TYPEPROGRAM_WORD,StartAddr+60, p->pid_i_max_yaw);
	HAL_FLASH_Program(FLASH_TYPEPROGRAM_WORD,StartAddr+64,(uint32_t)(p->maxpitchdegree) );
	HAL_FLASH_Program(FLASH_TYPEPROGRAM_WORD,StartAddr+68,(uint32_t)(p->maxrolldegree) );
	HAL_FLASH_Program(FLASH_TYPEPROGRAM_WORD,StartAddr+72,(uint32_t)(p->maxyawdegree) );
	HAL_FLASH_Program(FLASH_TYPEPROGRAM_WORD,StartAddr+76,(uint32_t)(p->minthrottle) );
	HAL_FLASH_Program(FLASH_TYPEPROGRAM_WORD,StartAddr+80,(uint32_t)(p->maxthrottle) );

	HAL_FLASH_Lock();
}

void EraseFlashData(uint32_t StartAddr)
{
	FLASH_EraseInitTypeDef EraseInitStruct;

	uint32_t PageError;

	EraseInitStruct.TypeErase   = FLASH_TYPEERASE_PAGES;
	EraseInitStruct.PageAddress = StartAddr;
	EraseInitStruct.NbPages     = 1;

	HAL_FLASH_Unlock();

	//FLASH_PageErase(0x800FC00); //doesn't handle all registers PER regiser in CR is not cleared

	HAL_FLASHEx_Erase(&EraseInitStruct, &PageError);

	HAL_FLASH_Lock();
}

//Check if Data on given address matches control word
uint32_t CheckFlashData(uint32_t StartAddr)
{
	return *(( uint32_t *) (StartAddr) );
}

//Read Data from Flash
void ReadFlashData(uint32_t StartAddr, struct FlashDatastruct *p)
{
	p->controlData= *(( uint32_t *) (StartAddr) );
	p->pid_p_gain_pitch=(float)( (*(( uint32_t *) (StartAddr+4) )) )/FLASHCONSTANTMULTIPLIER;
	p->pid_i_gain_pitch=(float)( (*(( uint32_t *) (StartAddr+8) )) )/FLASHCONSTANTMULTIPLIER;
	p->pid_d_gain_pitch=(float)( (*(( uint32_t *) (StartAddr+12) )) )/FLASHCONSTANTMULTIPLIER;
	p->pid_p_gain_roll=(float)( (*(( uint32_t *) (StartAddr+16) ))  )/FLASHCONSTANTMULTIPLIER;
	p->pid_i_gain_roll=(float)( (*(( uint32_t *) (StartAddr+20) )) )/FLASHCONSTANTMULTIPLIER;
	p->pid_d_gain_roll=(float)( (*(( uint32_t *) (StartAddr+24) )) )/FLASHCONSTANTMULTIPLIER;
	p->pid_p_gain_yaw=(float)( (*(( uint32_t *) (StartAddr+28) )) )/FLASHCONSTANTMULTIPLIER;
	p->pid_i_gain_yaw=(float)( (*(( uint32_t *) (StartAddr+32) )) )/FLASHCONSTANTMULTIPLIER;
	p->pid_d_gain_yaw=(float)( (*(( uint32_t *) (StartAddr+36) )) )/FLASHCONSTANTMULTIPLIER;
	p->pid_max_pitch=*(( uint32_t *) (StartAddr+40) );
	p->pid_i_max_pitch=*(( uint32_t *) (StartAddr+44) );
	p->pid_max_roll=*(( uint32_t *) (StartAddr+48) );
	p->pid_i_max_roll=*(( uint32_t *) (StartAddr+52) );
	p->pid_max_yaw=*(( uint32_t *) (StartAddr+56) );
	p->pid_i_max_yaw=*(( uint32_t *) (StartAddr+60) );
	p->maxpitchdegree=(float)( (*(( uint32_t *) (StartAddr+64) )) );
	p->maxrolldegree=(float)( (*(( uint32_t *) (StartAddr+68) )) );
	p->maxyawdegree=(float)( (*(( uint32_t *) (StartAddr+72) )) );
	p->minthrottle=(float)( (*(( uint32_t *) (StartAddr+76) )) );
	p->maxthrottle=(float)( (*(( uint32_t *) (StartAddr+80) )) );
}

void WriteString(char string[])
{
  unsigned int i=0;
  while (string[i])
	{
	PrintCharUart (string[i]);
	i++;
  }
}

void PrintCharUart (int ch) 	 /* Write character to Serial Port    */
{
	while (!(USART1->SR & USART_SR_TXE));
	USART1->DR = (USART_DR_DR & ch);
}
/* USER CODE END 4 */

void Error_Handler(void)
{
}

/************************ (C) COPYRIGHT STMicroelectronics *****END OF FILE****/
